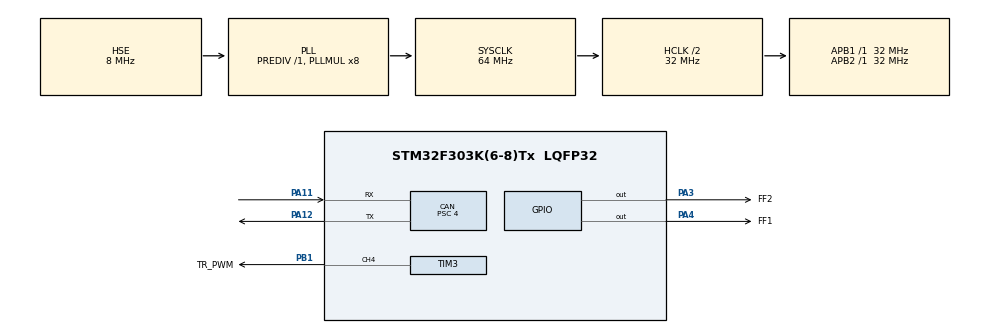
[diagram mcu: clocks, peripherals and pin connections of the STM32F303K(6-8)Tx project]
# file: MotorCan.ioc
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CAN.BS1=CAN_BS1_11TQ
CAN.BS2=CAN_BS2_4TQ
CAN.CalculateTimeBit=2000
CAN.CalculateTimeQuantum=125.0
CAN.Prescaler=4
Mcu.Family=STM32F3
Mcu.Name=STM32F303K(6-8)Tx
Mcu.Package=LQFP32
NVIC.CAN_RX0_IRQn=true\:0\:0\:false\:false\:true\:true
NVIC.CAN_RX1_IRQn=true\:0\:0\:false\:false\:true\:true
NVIC.CAN_SCE_IRQn=true\:0\:0\:false\:false\:true\:true
NVIC.CAN_TX_IRQn=true\:0\:0\:false\:false\:true\:true
NVIC.PriorityGroup=NVIC_PRIORITYGROUP_4
NVIC.TIM3_IRQn=true\:0\:0\:false\:false\:true\:true
PA11.Mode=Master
PA11.Signal=CAN_RX
PA12.Mode=Master
PA12.Signal=CAN_TX
PA13.Mode=Serial_Wire
PA13.Signal=SYS_JTMS-SWDIO
PA14.Mode=Serial_Wire
PA14.Signal=SYS_JTCK-SWCLK
PA3.GPIO_Label=FF2
PA3.GPIO_ModeDefaultOutputPP=GPIO_MODE_OUTPUT_PP
PA3.GPIO_PuPd=GPIO_NOPULL
PA3.GPIO_Speed=GPIO_SPEED_FREQ_LOW
PA3.PinState=GPIO_PIN_RESET
PA3.Signal=GPIO_Output
PA4.GPIO_Label=FF1
PA4.GPIO_ModeDefaultOutputPP=GPIO_MODE_OUTPUT_PP
PA4.GPIO_PuPd=GPIO_NOPULL
PA4.GPIO_Speed=GPIO_SPEED_FREQ_LOW
PA4.PinState=GPIO_PIN_RESET
PA4.Signal=GPIO_Output
PB1.GPIO_Label=TR_PWM
PB1.GPIO_ModeDefaultPP=GPIO_MODE_AF_PP
PB1.GPIO_PuPd=GPIO_NOPULL
PB1.GPIO_Speed=GPIO_SPEED_FREQ_LOW
PB1.Signal=S_TIM3_CH4
PB3.Signal=SYS_JTDO-TRACESWO
PF0\ /\ OSC_IN.Mode=HSE-External-Oscillator
PF0\ /\ OSC_IN.Signal=RCC_OSC_IN
PF1\ /\ OSC_OUT.Mode=HSE-External-Oscillator
PF1\ /\ OSC_OUT.Signal=RCC_OSC_OUT
ProjectManager.HeapSize=0x200
ProjectManager.StackSize=0x400
ProjectManager.TargetToolchain=MDK-ARM V5
RCC.AHBCLKDivider=RCC_SYSCLK_DIV2
RCC.AHBFreq_Value=32000000
RCC.APB1Freq_Value=32000000
RCC.APB1TimFreq_Value=32000000
RCC.APB2Freq_Value=32000000
RCC.APB2TimFreq_Value=32000000
RCC.CortexFreq_Value=32000000
RCC.HCLKFreq_Value=32000000
RCC.HSE_VALUE=8000000
RCC.HSI_VALUE=8000000
RCC.PLLMUL=RCC_PLL_MUL8
RCC.PLLSourceVirtual=RCC_PLLSOURCE_HSE
RCC.SYSCLKFreq_VALUE=64000000
RCC.SYSCLKSourceVirtual=RCC_SYSCLKSOURCE_PLLCLK
SH.S_TIM3_CH4.0=TIM3_CH4,PWM Generation4 CH4
TIM3.AutoReloadPreload=TIM_AUTORELOAD_PRELOAD_ENABLE
TIM3.Channel-PWM\ Generation4\ CH4=TIM_CHANNEL_4
TIM3.Period=1999
TIM3.Pulse-PWM\ Generation4\ CH4=1500
VP_TIM3_VS_ClockSourceINT.Mode=Internal
board=MotorCan

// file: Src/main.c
/**
  ******************************************************************************
  * @file           : main.c
  * @brief          : Main program body
  ******************************************************************************
  ** This notice applies to any and all portions of this file
  * that are not between comment pairs USER CODE BEGIN and
  * USER CODE END. Other portions of this file, whether
  * inserted by the user or by software development tools
  * are owned by their respective copyright owners.
  *
  * COPYRIGHT(c) 2018 STMicroelectronics
  *
  * Redistribution and use in source and binary forms, with or without modification,
  * are permitted provided that the following conditions are met:
  *   1. Redistributions of source code must retain the above copyright notice,
  *      this list of conditions and the following disclaimer.
  *   2. Redistributions in binary form must reproduce the above copyright notice,
  *      this list of conditions and the following disclaimer in the documentation
  *      and/or other materials provided with the distribution.
  *   3. Neither the name of STMicroelectronics nor the names of its contributors
  *      may be used to endorse or promote products derived from this software
  *      without specific prior written permission.
  *
  * THIS SOFTWARE IS PROVIDED BY THE COPYRIGHT HOLDERS AND CONTRIBUTORS "AS IS"
  * AND ANY EXPRESS OR IMPLIED WARRANTIES, INCLUDING, BUT NOT LIMITED TO, THE
  * IMPLIED WARRANTIES OF MERCHANTABILITY AND FITNESS FOR A PARTICULAR PURPOSE ARE
  * DISCLAIMED. IN NO EVENT SHALL THE COPYRIGHT HOLDER OR CONTRIBUTORS BE LIABLE
  * FOR ANY DIRECT, INDIRECT, INCIDENTAL, SPECIAL, EXEMPLARY, OR CONSEQUENTIAL
  * DAMAGES (INCLUDING, BUT NOT LIMITED TO, PROCUREMENT OF SUBSTITUTE GOODS OR
  * SERVICES; LOSS OF USE, DATA, OR PROFITS; OR BUSINESS INTERRUPTION) HOWEVER
  * CAUSED AND ON ANY THEORY OF LIABILITY, WHETHER IN CONTRACT, STRICT LIABILITY,
  * OR TORT (INCLUDING NEGLIGENCE OR OTHERWISE) ARISING IN ANY WAY OUT OF THE USE
  * OF THIS SOFTWARE, EVEN IF ADVISED OF THE POSSIBILITY OF SUCH DAMAGE.
  *
  ******************************************************************************
  */
#include "main.h"
#include "stm32f3xx_hal.h"
#include "can.h"
#include "tim.h"
#include "gpio.h"

/* USER CODE BEGIN Includes */

#include "systick.h"

/* USER CODE END Includes */

/* USER CODE BEGIN PV */
/* Private variables ---------------------------------------------------------*/
extern Sysbase_timer timebase_10ms;
extern Sysbase_timer timebase_100ms;
extern Sysbase_timer timebase_1s;
static uint8_t test[8]={0,0,0,0,0,0,0,0};
extern uint8_t can_receive[8];
static uint8_t can_send[8]={0,0,0,0,0,0,0,0};
static int temp =0;
struct inPara
{
	uint8_t mode;
	uint8_t cc;
	uint8_t oc;
	uint8_t p;
	uint8_t i;
	uint8_t dir;
	uint8_t pwm;
	uint8_t speed;
}inPara_t;

struct outPara
{
	uint8_t mode;
	uint8_t temperature;
	uint8_t speed;
	uint8_t voltage;
	uint8_t current;
}outPara_t;

/* Timer handler declaration */
TIM_HandleTypeDef    TimHandle;

/* Timer Output Compare Configuration Structure declaration */
TIM_OC_InitTypeDef sConfig;
/* USER CODE END PV */

void SystemClock_Config(void);
void testfunction(void);

/* USER CODE BEGIN PFP */
/* Private function prototypes -----------------------------------------------*/

/* USER CODE END PFP */

int main(void)
{

  /* MCU Configuration----------------------------------------------------------*/

  /* Reset of all peripherals, Initializes the Flash interface and the Systick. */
  HAL_Init();

  /* Configure the system clock */
  SystemClock_Config();

  /* Initialize all configured peripherals */
  MX_GPIO_Init();
  MX_CAN_Init();
  MX_TIM3_Init();
  /* USER CODE BEGIN 2 */

	HAL_TIM_Base_Start(&htim3);
	HAL_TIM_PWM_Start(&htim3,TIM_CHANNEL_4);
	CAN_init(&hcan);
	CAN_filter(&hcan, 1,0x00,0x01,0x10,0x11);
	  /*##-2- Start the Reception process and enable reception interrupt #########*/
	HAL_CAN_Transmit_IT(&hcan);
  if (HAL_CAN_Receive_IT(&hcan, CAN_FIFO0) != HAL_OK)
  {
    /* Reception Error */
    Error_Handler();
  }

  /* USER CODE END 2 */

  /* Infinite loop */
  /* USER CODE BEGIN WHILE */
  while (1)
  {
		if(Systick_Timer(&timebase_10ms,TIMER_CHECK,0)==TIMER_HOLD)
			{
        Systick_Timer(&timebase_10ms,TIMER_START_ms,10);
			}

		if(Systick_Timer(&timebase_100ms,TIMER_CHECK,0)==TIMER_HOLD)
			{
         Systick_Timer(&timebase_100ms,TIMER_START_ms,100);
			}

		if(Systick_Timer(&timebase_1s,TIMER_CHECK,0)==TIMER_HOLD)
			{
        Systick_Timer(&timebase_1s,TIMER_START_s,1);

			}

  /* USER CODE END WHILE */

  }

}

void SystemClock_Config(void)
{

  RCC_OscInitTypeDef RCC_OscInitStruct;
  RCC_ClkInitTypeDef RCC_ClkInitStruct;

    /**Initializes the CPU, AHB and APB busses clocks
    */
  RCC_OscInitStruct.OscillatorType = RCC_OSCILLATORTYPE_HSE;
  RCC_OscInitStruct.HSEState = RCC_HSE_ON;
  RCC_OscInitStruct.HSEPredivValue = RCC_HSE_PREDIV_DIV1;
  RCC_OscInitStruct.HSIState = RCC_HSI_ON;
  RCC_OscInitStruct.PLL.PLLState = RCC_PLL_ON;
  RCC_OscInitStruct.PLL.PLLSource = RCC_PLLSOURCE_HSE;
  RCC_OscInitStruct.PLL.PLLMUL = RCC_PLL_MUL8;
  if (HAL_RCC_OscConfig(&RCC_OscInitStruct) != HAL_OK)
  {
    _Error_Handler(__FILE__, __LINE__);
  }

    /**Initializes the CPU, AHB and APB busses clocks
    */
  RCC_ClkInitStruct.ClockType = RCC_CLOCKTYPE_HCLK|RCC_CLOCKTYPE_SYSCLK
                              |RCC_CLOCKTYPE_PCLK1|RCC_CLOCKTYPE_PCLK2;
  RCC_ClkInitStruct.SYSCLKSource = RCC_SYSCLKSOURCE_PLLCLK;
  RCC_ClkInitStruct.AHBCLKDivider = RCC_SYSCLK_DIV2;
  RCC_ClkInitStruct.APB1CLKDivider = RCC_HCLK_DIV1;
  RCC_ClkInitStruct.APB2CLKDivider = RCC_HCLK_DIV1;

  if (HAL_RCC_ClockConfig(&RCC_ClkInitStruct, FLASH_LATENCY_1) != HAL_OK)
  {
    _Error_Handler(__FILE__, __LINE__);
  }

    /**Configure the Systick interrupt time
    */
  HAL_SYSTICK_Config(HAL_RCC_GetHCLKFreq()/1000);

    /**Configure the Systick
    */
  HAL_SYSTICK_CLKSourceConfig(SYSTICK_CLKSOURCE_HCLK);

  /* SysTick_IRQn interrupt configuration */
  HAL_NVIC_SetPriority(SysTick_IRQn, 0, 0);
}

/* USER CODE BEGIN 4 */

void testfunction(void)
{
	HAL_GPIO_TogglePin(FF2_GPIO_Port,FF2_Pin);
				if(temp>=2900)
				{
					temp=-100;
				}
				else
				{
					temp+=30;
				}

					HAL_TIM_Base_Start(&htim3);
					HAL_TIM_PWM_Start(&htim3,TIM_CHANNEL_4);
				if(can_receive[0])
				{
					//HAL_GPIO_TogglePin(FF2_GPIO_Port,FF2_Pin);
				}

				CAN_send(&hcan,0xcc, test);
				if(can_receive[1])
				{
				HAL_GPIO_TogglePin(FF1_GPIO_Port,FF1_Pin);
				}
}

/* USER CODE END 4 */

void _Error_Handler(char *file, int line)
{
  while(1)
  {
  }
}

/************************ (C) COPYRIGHT STMicroelectronics *****END OF FILE****/
